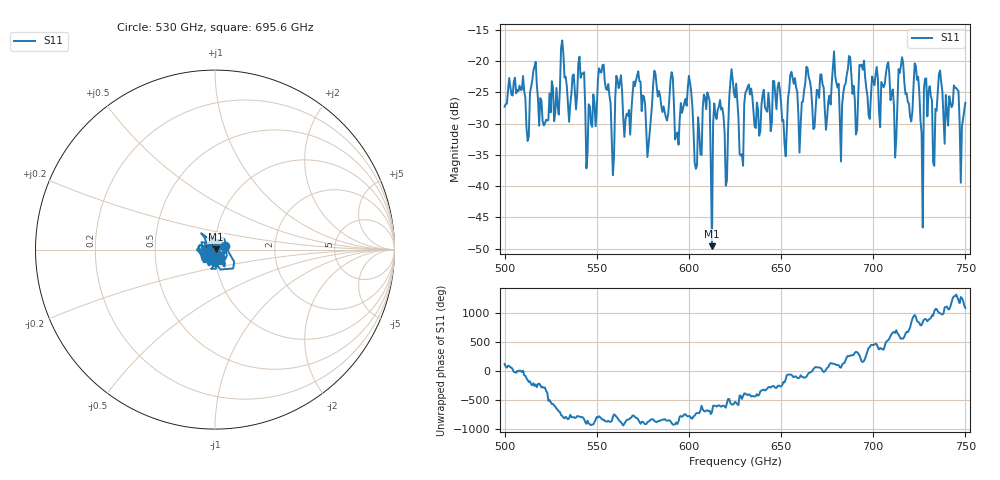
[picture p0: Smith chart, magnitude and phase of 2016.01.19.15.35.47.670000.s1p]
!Created with skrf (http://scikit-rf.org).
# GHz S RI R 50.0
!freq ReS11 ImS11
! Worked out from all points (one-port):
!   401 points, 500 GHz to 750 GHz, reference 50 ohm
!   lowest |S11| = -49.6 dB at 612.5 GHz (marker M1), VSWR 1.01, Z = 50.3 + j0.11 ohm
!   |S11| at or under -10 dB: start of sweep to end of sweep
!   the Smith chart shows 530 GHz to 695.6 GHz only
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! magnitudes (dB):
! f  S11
! 500 GHz  -27.3
! 516.2 GHz  -20.9
! 522.5 GHz  -29.4
! 531.2 GHz  -16.7
! 541.9 GHz  -22.0
! 545.6 GHz  -26.9
! 552.5 GHz  -21.9
! 558.1 GHz  -32.5
! 562.5 GHz  -23.5
! 565.6 GHz  -29.3
! 572.5 GHz  -21.7
! 578.1 GHz  -33.4
! 581.2 GHz  -21.6
! 590.6 GHz  -21.8
! 593.8 GHz  -31.4
! 600.6 GHz  -23.5
! 603.1 GHz  -36.3
! 609.4 GHz  -27.7
! 612.5 GHz  -49.6
! 625 GHz  -25.8
! 628.1 GHz  -35.1
! 631.9 GHz  -24.1
! 651.9 GHz  -33.2
! 656.2 GHz  -22.7
! 660.6 GHz  -30.2
! 687.5 GHz  -19.4
! 718.8 GHz  -26.5
! 750 GHz  -26.7
